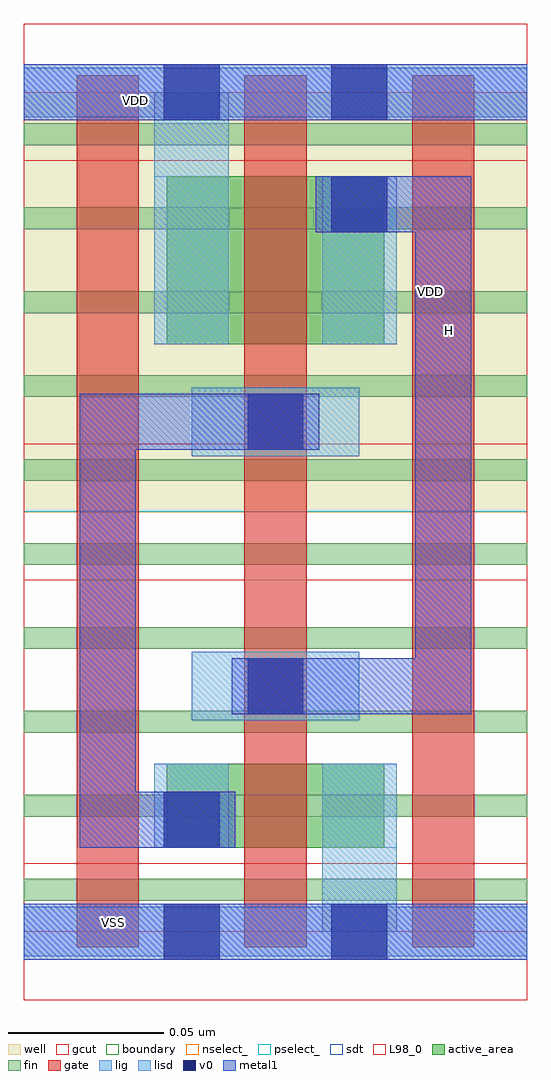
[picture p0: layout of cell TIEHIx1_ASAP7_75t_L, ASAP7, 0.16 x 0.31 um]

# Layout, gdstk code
import gdstk
lib = gdstk.Library(unit=1e-6, precision=2.5e-10)
def R(c, l, rs):  # rectangles x0, y0, x1, y1
    for r in rs: c.add(gdstk.rectangle(r[:2], r[2:], *l))
def A(c, l, x, y, w, h, nx, ny, dx, dy):  # array of equal rectangles
    R(c, l, [(x+i*dx, y+j*dy, x+i*dx+w, y+j*dy+h) for i in range(nx) for j in range(ny)])
def P(c, l, *ps):  # polygons
    for p in ps: c.add(gdstk.Polygon(p, *l))
well = (1, 0)
fin = (2, 0)
gate = (7, 0)
gcut = (10, 0)
active_area = (11, 0)
nselect_ = (12, 0)
pselect_ = (13, 0)
lig = (16, 0)
lisd = (17, 0)
v0 = (18, 0)
metal1 = (19, 0)
sdt = (88, 0)
L98_0 = (98, 0)
boundary = (100, 0)

tiehix1_asap7_75t_l = lib.new_cell('TIEHIx1_ASAP7_75t_L')
R(tiehix1_asap7_75t_l, well, [(0,0.135,0.162,0.27)])
A(tiehix1_asap7_75t_l, fin, 0, 0.01, 0.162, 0.007, 1, 10, 0, 0.027)
A(tiehix1_asap7_75t_l, gate, 0.017, -0.005, 0.02, 0.2805, 3, 1, 0.054, 0)
A(tiehix1_asap7_75t_l, gcut, 0, -0.022, 0.162, 0.044, 1, 3, 0, 0.135)
R(tiehix1_asap7_75t_l, active_area, [(0.046,0.027,0.116,0.054), (0.046,0.189,0.116,0.243)])
R(tiehix1_asap7_75t_l, nselect_, [(0,0,0.162,0.135)])
R(tiehix1_asap7_75t_l, pselect_, [(0,0.135,0.162,0.27)])
R(tiehix1_asap7_75t_l, lig, [(0,-0.008,0.162,0.008), (0.054,0.068,0.108,0.09), (0.054,0.153,0.108,0.175), (0,0.262,0.162,0.278)])
R(tiehix1_asap7_75t_l, lisd, [(0.096,0,0.12,0.054), (0.042,0.027,0.066,0.054), (0.042,0.189,0.066,0.27), (0.096,0.189,0.12,0.243)])
R(tiehix1_asap7_75t_l, v0, [(0.045,-0.009,0.063,0.009), (0.099,-0.009,0.117,0.009), (0.045,0.027,0.063,0.045), (0.072,0.07,0.09,0.088), (0.072,0.155,0.09,0.173), (0.099,0.225,0.117,0.243), (0.045,0.261,0.063,0.279), (0.099,0.261,0.117,0.279)])
R(tiehix1_asap7_75t_l, metal1, [(0,-0.009,0.162,0.009), (0,0.261,0.162,0.279)])
P(tiehix1_asap7_75t_l, metal1, [(0.067,0.07),(0.067,0.088),(0.126,0.088),(0.126,0.225),(0.094,0.225),(0.094,0.243),(0.144,0.243),(0.144,0.07)],
  [(0.018,0.027),(0.018,0.173),(0.095,0.173),(0.095,0.155),(0.036,0.155),(0.036,0.045),(0.068,0.045),(0.068,0.027)])
R(tiehix1_asap7_75t_l, sdt, [(0.042,0.027,0.066,0.054), (0.096,0.027,0.12,0.054), (0.042,0.189,0.066,0.243), (0.096,0.189,0.12,0.243)])
R(tiehix1_asap7_75t_l, L98_0, [(0,0,0.162,0.27)])
R(tiehix1_asap7_75t_l, boundary, [(0,0,0.162,0.27)])
tiehix1_asap7_75t_l.add(gdstk.Label('VDD', (0.131,0.206), layer=1, texttype=251))
tiehix1_asap7_75t_l.add(gdstk.Label('VDD', (0.036,0.2675), layer=19, texttype=251))
tiehix1_asap7_75t_l.add(gdstk.Label('VSS', (0.029,0.003), layer=19, texttype=251))
tiehix1_asap7_75t_l.add(gdstk.Label('H', (0.137,0.1935), layer=19, texttype=251))
tiehix1_asap7_75t_l.add(gdstk.Label('VSS', (0.2,0.205), layer=3, texttype=251))

lib.write_gds('TIEHIx1_ASAP7_75t_L.gds')
